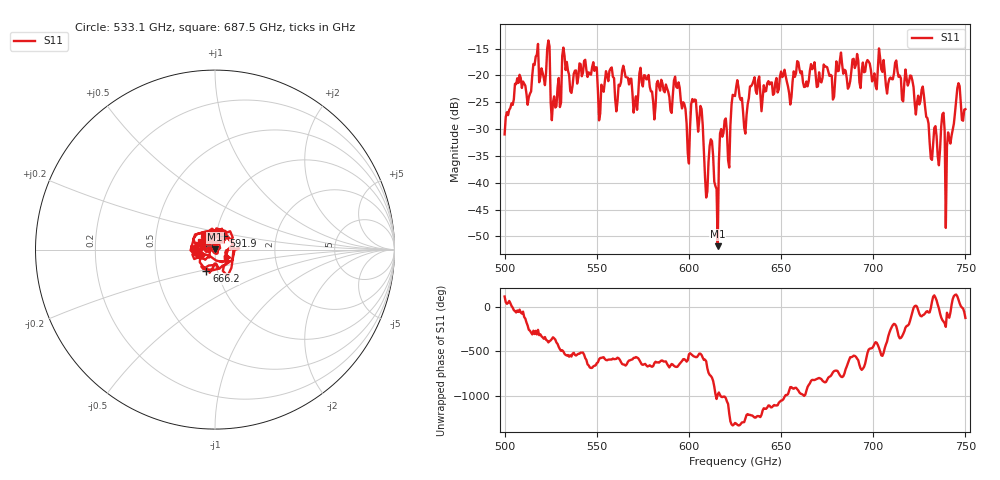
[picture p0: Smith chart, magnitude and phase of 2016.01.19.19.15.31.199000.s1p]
!Created with skrf (http://scikit-rf.org).
# GHz S RI R 50.0
!freq ReS11 ImS11
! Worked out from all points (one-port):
!   401 points, 500 GHz to 750 GHz, reference 50 ohm
!   lowest |S11| = -51.8 dB at 615.6 GHz (marker M1), VSWR 1.01, Z = 50 + j0.255 ohm
!   |S11| at or under -10 dB: start of sweep to end of sweep
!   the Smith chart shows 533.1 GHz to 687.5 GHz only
!   S11 on the Smith chart (normalised r, x): 533.1 GHz: 0.80, +0.00; 591.9 GHz: 1.09, +0.16; 666.2 GHz: 0.88, -0.21; 687.5 GHz: 0.85, +0.07
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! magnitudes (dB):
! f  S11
! 500 GHz  -31.0
! 513.1 GHz  -24.1
! 516.9 GHz  -16.5
! 523.1 GHz  -15.0
! 526.2 GHz  -25.0
! 531.2 GHz  -16.4
! 533.1 GHz  -19.0
! 562.5 GHz  -22.0
! 591.9 GHz  -21.0
! 593.8 GHz  -22.3
! 599.4 GHz  -34.5
! 602.5 GHz  -24.9
! 606.9 GHz  -26.3
! 609.4 GHz  -42.8
! 611.9 GHz  -31.9
! 615.6 GHz  -51.8
! 618.1 GHz  -31.4
! 621.9 GHz  -37.2
! 625 GHz  -23.9
! 630.6 GHz  -30.9
! 634.4 GHz  -21.7
! 656.2 GHz  -21.1
! 666.2 GHz  -17.9
! 687.5 GHz  -21.1
! 718.8 GHz  -21.9
! 740.6 GHz  -30.6
! 745.6 GHz  -22.4
! 750 GHz  -26.3
